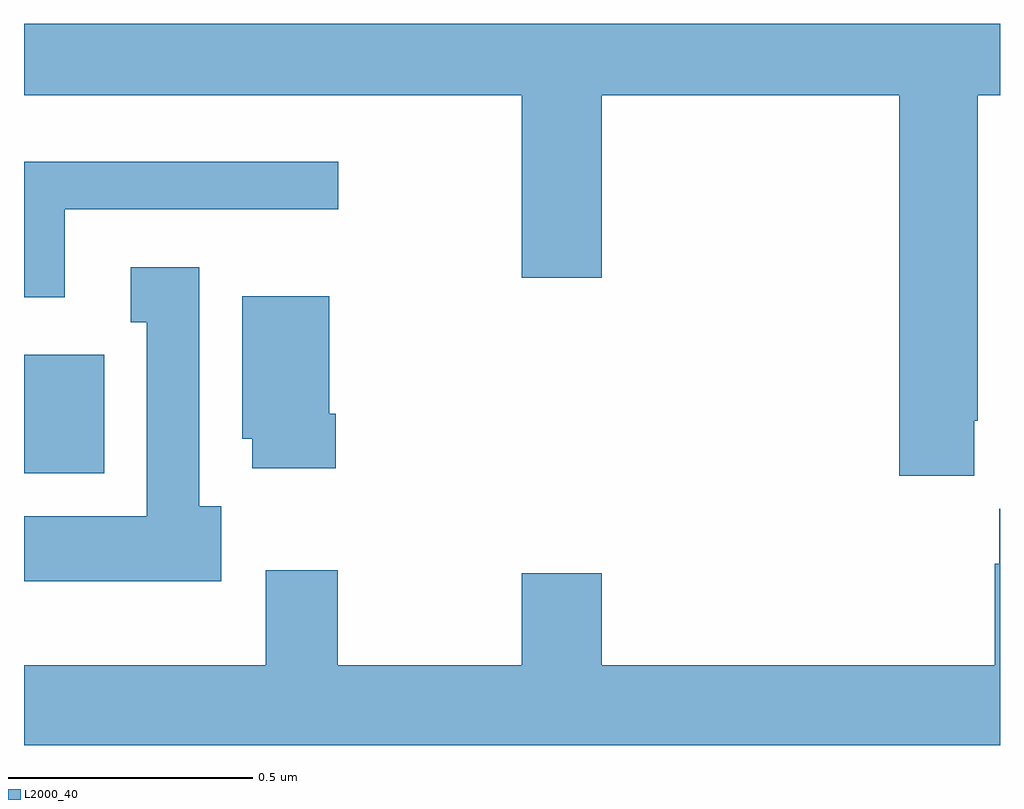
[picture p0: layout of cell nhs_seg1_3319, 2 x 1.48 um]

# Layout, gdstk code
import gdstk
lib = gdstk.Library(unit=1e-6, precision=1e-09)
def R(c, l, rs):  # rectangles x0, y0, x1, y1
    for r in rs: c.add(gdstk.rectangle(r[:2], r[2:], *l))
def P(c, l, *ps):  # polygons
    for p in ps: c.add(gdstk.Polygon(p, *l))
L2000_40 = (2000, 40)

nhs_seg1_3319 = lib.new_cell('nhs_seg1_3319')
R(nhs_seg1_3319, L2000_40, [(152,564.278,152.164,564.52)])
P(nhs_seg1_3319, L2000_40, [(153.947,564.385),(153.954,564.385),(153.954,565.052),(154,565.052),(154,565.199),(152,565.199),(152,565.052),(153.02,565.052),(153.02,564.678),(153.184,564.678),(153.184,565.052),(153.794,565.052),(153.794,564.273),(153.947,564.273)],
  [(152.083,564.819),(152.644,564.819),(152.644,564.916),(152,564.916),(152,564.638),(152.083,564.638)],
  [(152.404,564.21),(152.359,564.21),(152.359,564.7),(152.219,564.7),(152.219,564.587),(152.252,564.587),(152.252,564.19),(152,564.19),(152,564.056),(152.404,564.056)],
  [(152.639,564.4),(152.626,564.4),(152.626,564.64),(152.447,564.64),(152.447,564.348),(152.468,564.348),(152.468,564.288),(152.639,564.288)],
  [(154,564.205),(153.998,564.205),(153.998,564.092),(153.989,564.092),(153.989,563.884),(153.184,563.884),(153.184,564.073),(153.02,564.073),(153.02,563.884),(152.643,563.884),(152.643,564.079),(152.495,564.079),(152.495,563.884),(152,563.884),(152,563.72),(154,563.72)])

lib.write_gds('nhs_seg1_3319.gds')
